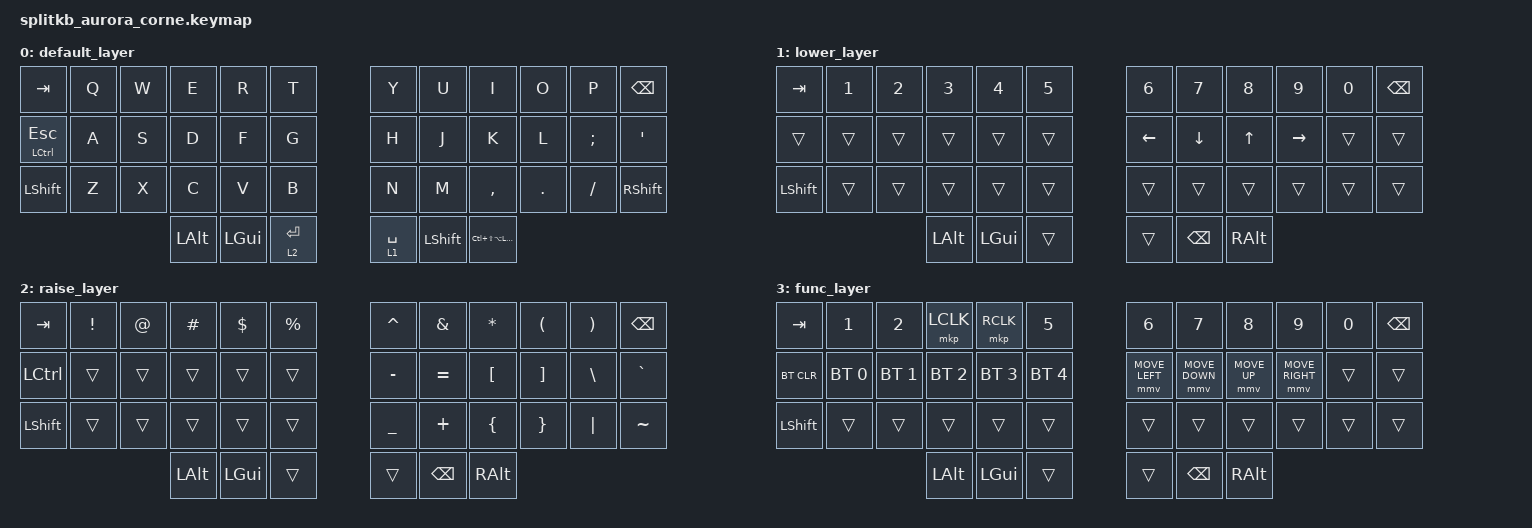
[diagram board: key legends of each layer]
/*
 * Copyright (c) 2020 The ZMK Contributors
 *
 * SPDX-License-Identifier: MIT
 */

#include <behaviors.dtsi>
#include <dt-bindings/zmk/bt.h>
#include <dt-bindings/zmk/keys.h>
#include <dt-bindings/zmk/mouse.h>

/ {
    combos {
        compatible = "zmk,combos";

        combo_esc {
            timeout-ms = <50>;
            key-positions = <19 20>;
            bindings = <&kp ESCAPE>;
        };

        combo_bspc {
            timeout-ms = <50>;
            key-positions = <15 16>;
            bindings = <&kp BSPC>;
        };
    };

    conditional_layers {
        compatible = "zmk,conditional-layers";

        tri_layer {
            if-layers = <1 2>;
            then-layer = <3>;
        };
    };

    keymap {
        compatible = "zmk,keymap";

        default_layer {
            // -----------------------------------------------------------------------------------------
            // |  TAB |  Q  |  W  |  E  |  R  |  T  |   |  Y  |  U   |  I  |  O  |  P  | BKSP |
            // | CTRL |  A  |  S  |  D  |  F  |  G  |   |  H  |  J   |  K  |  L  |  ;  |  '   |
            // | SHFT |  Z  |  X  |  C  |  V  |  B  |   |  N  |  M   |  ,  |  .  |  /  | SHFT |
            //                    | GUI | LWR | SPC |   | ENT | RSE  | ALT |

            bindings = <
&kp TAB        &kp Q  &kp W  &kp E     &kp R     &kp T        &kp Y        &kp U      &kp I                 &kp O    &kp P     &kp BSPC
&mt LCTRL ESC  &kp A  &kp S  &kp D     &kp F     &kp G        &kp H        &kp J      &kp K                 &kp L    &kp SEMI  &kp SQT
&kp LSHFT      &kp Z  &kp X  &kp C     &kp V     &kp B        &kp N        &kp M      &kp COMMA             &kp DOT  &kp FSLH  &kp RSHFT
                             &kp LALT  &kp LGUI  &lt 2 RET    &lt 1 SPACE  &kp LSHFT  &kp LC(LS(LA(LGUI)))
            >;
        };

        lower_layer {
            // -----------------------------------------------------------------------------------------
            // |  TAB |  1  |  2  |  3  |  4  |  5  |   |  6  |  7  |  8  |  9  |  0  | BKSP |
            // | BTCLR|     |     |     |     |     |   | LFT | DWN |  UP | RGT |     |      |
            // | SHFT |     |     |     |     |     |   |     |     |     |     |     |      |
            //                    | GUI |     | SPC |   | ENT |     | ALT |

            bindings = <
&kp TAB    &kp N1  &kp N2  &kp N3    &kp N4    &kp N5    &kp N6    &kp N7    &kp N8    &kp N9     &kp N0  &kp BSPC
&trans     &trans  &trans  &trans    &trans    &trans    &kp LEFT  &kp DOWN  &kp UP    &kp RIGHT  &trans  &trans
&kp LSHFT  &trans  &trans  &trans    &trans    &trans    &trans    &trans    &trans    &trans     &trans  &trans
                           &kp LALT  &kp LGUI  &trans    &trans    &kp BSPC  &kp RALT
            >;
        };

        raise_layer {
            // -----------------------------------------------------------------------------------------
            // |  TAB |  !  |  @  |  #  |  $  |  %  |   |  ^  |  &  |  *  |  (  |  )  | BKSP |
            // | CTRL |     |     |     |     |     |   |  -  |  =  |  [  |  ]  |  \  |  `   |
            // | SHFT |     |     |     |     |     |   |  _  |  +  |  {  |  }  | "|" |  ~   |
            //                    | GUI |     | SPC |   | ENT |     | ALT |

            bindings = <
&kp TAB    &kp EXCL  &kp AT  &kp HASH  &kp DLLR  &kp PRCNT    &kp CARET  &kp AMPS   &kp ASTRK  &kp LPAR  &kp RPAR  &kp BSPC
&kp LCTRL  &trans    &trans  &trans    &trans    &trans       &kp MINUS  &kp EQUAL  &kp LBKT   &kp RBKT  &kp BSLH  &kp GRAVE
&kp LSHFT  &trans    &trans  &trans    &trans    &trans       &kp UNDER  &kp PLUS   &kp LBRC   &kp RBRC  &kp PIPE  &kp TILDE
                             &kp LALT  &kp LGUI  &trans       &trans     &kp BSPC   &kp RALT
            >;
        };

        func_layer {
            // -----------------------------------------------------------------------------------------
            // |  TAB |  1  |  2  |  3  |  4  |  5  |   |  6  |  7  |  8  |  9  |  0  | BKSP |
            // | BTCLR| BT1 | BT2 | BT3 | BT4 | BT5 |   | LFT | DWN |  UP | RGT |     |      |
            // | SHFT |     |     |     |     |     |   |     |     |     |     |     |      |
            //                    | GUI |     | SPC |   | ENT |     | ALT |

            bindings = <
&kp TAB     &kp N1        &kp N2        &mkp LCLK     &mkp RCLK     &kp N5          &kp N6          &kp N7          &kp N8        &kp N9           &kp N0  &kp BSPC
&bt BT_CLR  &bt BT_SEL 0  &bt BT_SEL 1  &bt BT_SEL 2  &bt BT_SEL 3  &bt BT_SEL 4    &mmv MOVE_LEFT  &mmv MOVE_DOWN  &mmv MOVE_UP  &mmv MOVE_RIGHT  &trans  &trans
&kp LSHFT   &trans        &trans        &trans        &trans        &trans          &trans          &trans          &trans        &trans           &trans  &trans
                                        &kp LALT      &kp LGUI      &trans          &trans          &kp BSPC        &kp RALT
            >;
        };
    };
};
